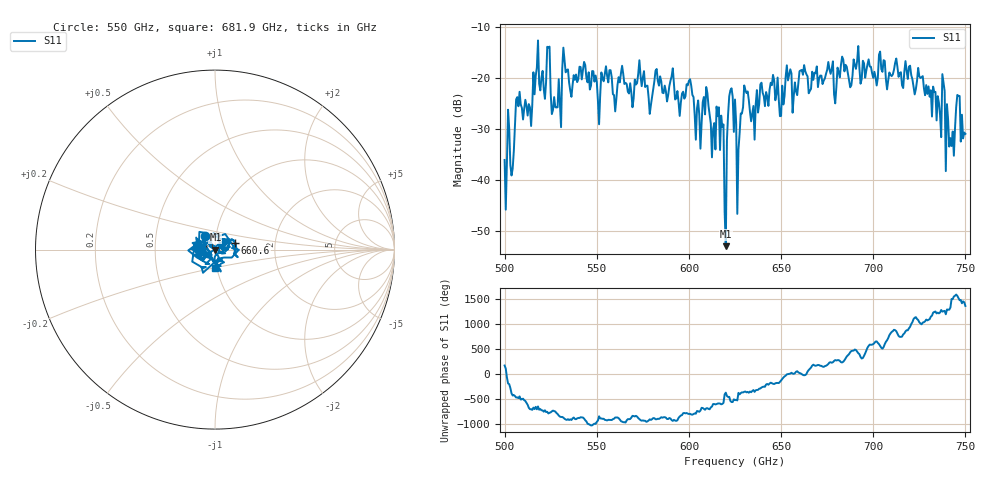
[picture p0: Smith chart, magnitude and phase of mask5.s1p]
!Created with skrf (http://scikit-rf.org).
# GHz S MA R 50.0
!freq magS11 angS11
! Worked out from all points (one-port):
!   401 points, 500 GHz to 750 GHz, reference 50 ohm
!   lowest |S11| = -52.9 dB at 620 GHz (marker M1), VSWR 1.00, Z = 50.2 - j0.0291 ohm
!   |S11| at or under -10 dB: start of sweep to end of sweep
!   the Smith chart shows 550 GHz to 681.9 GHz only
!   S11 on the Smith chart (normalised r, x): 550 GHz: 0.89, +0.13; 660.6 GHz: 1.25, +0.10; 681.9 GHz: 0.98, -0.20
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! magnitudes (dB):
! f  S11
! 500 GHz  -36.0
! 504.4 GHz  -37.7
! 507.5 GHz  -25.5
! 513.8 GHz  -25.8
! 516.9 GHz  -19.6
! 523.8 GHz  -14.0
! 526.9 GHz  -23.7
! 531.2 GHz  -18.3
! 550 GHz  -20.7
! 562.5 GHz  -20.9
! 593.8 GHz  -22.6
! 609.4 GHz  -21.8
! 613.1 GHz  -30.0
! 617.5 GHz  -27.4
! 620 GHz  -52.9
! 622.5 GHz  -22.4
! 625 GHz  -24.2
! 627.5 GHz  -30.9
! 631.2 GHz  -23.0
! 634.4 GHz  -26.9
! 656.2 GHz  -26.8
! 660.6 GHz  -18.5
! 681.9 GHz  -19.9
! 687.5 GHz  -21.8
! 718.8 GHz  -20.2
! 742.5 GHz  -33.3
! 745.6 GHz  -23.3
! 750 GHz  -30.9
